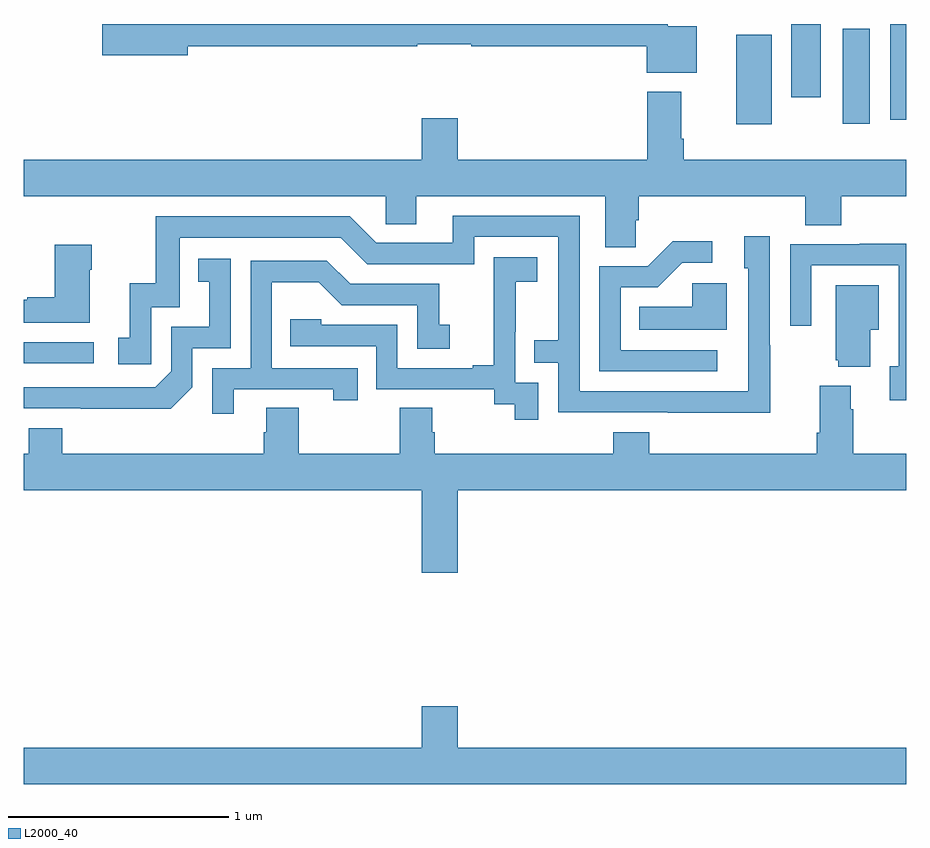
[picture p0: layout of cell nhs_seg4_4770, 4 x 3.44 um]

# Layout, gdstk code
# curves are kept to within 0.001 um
import gdstk
lib = gdstk.Library(unit=1e-6, precision=1e-09)
def R(c, l, rs):  # rectangles x0, y0, x1, y1
    for r in rs: c.add(gdstk.rectangle(r[:2], r[2:], *l))
def P(c, l, *ps):  # polygons
    for p in ps: c.add(gdstk.Polygon(p, *l))
L2000_40 = (2000, 40)

nhs_seg4_4770 = lib.new_cell('nhs_seg4_4770')
R(nhs_seg4_4770, L2000_40, [(367,829.362,367.318,829.458), (370.229,830.445,370.39,830.851), (370.712,830.448,370.834,830.878), (370.926,830.466,371,830.9), (370.478,830.568,370.612,830.9)])
P(nhs_seg4_4770, L2000_40, [(370.051,830.89),(369.918,830.89),(369.918,830.9),(367.356,830.9),(367.356,830.758),(367.744,830.758),(367.744,830.8),(368.784,830.8),(368.784,830.808),(369.028,830.808),(369.028,830.8),(369.824,830.8),(369.824,830.678),(370.051,830.678)],
  [(369.774,830.011),(369.788,830.011),(369.788,830.12),(370.541,830.12),(370.541,829.987),(370.706,829.987),(370.706,830.12),(371,830.12),(371,830.284),(369.992,830.284),(369.992,830.38),(369.979,830.38),(369.979,830.593),(369.827,830.593),(369.827,830.284),(368.968,830.284),(368.968,830.473),(368.804,830.473),(368.804,830.284),(367,830.284),(367,830.12),(368.64,830.12),(368.64,829.993),(368.779,829.993),(368.779,830.12),(369.635,830.12),(369.635,829.888),(369.774,829.888)],
  [(370.383,829.445),(370.38,829.445),(370.38,829.939),(370.265,829.939),(370.265,829.794),(370.284,829.794),(370.283,829.236),(369.519,829.236),(369.519,830.031),(368.945,830.031),(368.945,829.908),(368.598,829.908),(368.478,830.028),(367.599,830.028),(367.599,829.726),(367.481,829.726),(367.481,829.479),(367.428,829.479),(367.428,829.359),(367.578,829.359),(367.578,829.617),(367.707,829.617),(367.707,829.932),(368.436,829.932),(368.556,829.812),(369.042,829.812),(369.042,829.935),(369.423,829.935),(369.423,829.466),(369.313,829.466),(369.313,829.365),(369.423,829.365),(369.423,829.14),(370.383,829.139)],
  [(370.144,829.422),(369.705,829.422),(369.705,829.707),(369.874,829.707),(369.985,829.818),(370.12,829.818),(370.12,829.916),(369.941,829.916),(369.828,829.803),(369.609,829.803),(369.609,829.326),(370.144,829.326)],
  [(371,829.904),(370.789,829.904),(370.789,829.902),(370.473,829.902),(370.473,829.533),(370.569,829.533),(370.569,829.806),(370.965,829.806),(370.965,829.35),(370.925,829.35),(370.925,829.194),(371,829.194)],
  [(367.3,829.787),(367.308,829.787),(367.308,829.9),(367.142,829.9),(367.142,829.661),(367.016,829.661),(367.016,829.651),(367,829.651),(367,829.547),(367.3,829.547)],
  [(369.333,829.275),(369.228,829.275),(369.228,829.505),(369.23,829.505),(369.23,829.733),(369.328,829.733),(369.328,829.843),(369.13,829.843),(369.13,829.637),(369.131,829.637),(369.131,829.354),(369.035,829.354),(369.035,829.341),(368.694,829.341),(368.694,829.536),(368.349,829.536),(368.349,829.563),(368.209,829.563),(368.209,829.44),(368.598,829.44),(368.598,829.245),(369.132,829.245),(369.132,829.177),(369.225,829.177),(369.225,829.107),(369.333,829.107)],
  [(367.764,829.254),(367.764,829.431),(367.938,829.431),(367.938,829.837),(367.792,829.837),(367.792,829.731),(367.841,829.731),(367.841,829.527),(367.668,829.527),(367.668,829.326),(367.596,829.254),(367,829.254),(367,829.158),(367.666,829.157)],
  [(367.951,829.245),(368.402,829.245),(368.402,829.194),(368.513,829.194),(368.513,829.341),(368.124,829.341),(368.124,829.73),(368.338,829.73),(368.442,829.626),(368.784,829.626),(368.784,829.428),(368.932,829.428),(368.932,829.537),(368.883,829.537),(368.883,829.722),(368.479,829.722),(368.374,829.827),(368.028,829.827),(368.028,829.341),(367.854,829.341),(367.854,829.134),(367.951,829.134)],
  [(370.186,829.726),(370.029,829.726),(370.029,829.618),(369.79,829.618),(369.79,829.514),(370.186,829.514)],
  [(370.837,829.514),(370.876,829.514),(370.876,829.717),(370.679,829.717),(370.679,829.377),(370.691,829.377),(370.691,829.346),(370.837,829.346)],
  [(368.099,829.16),(368.099,829.05),(368.087,829.05),(368.087,828.952),(367.175,828.952),(367.175,829.069),(367.022,829.069),(367.022,828.952),(367,828.952),(367,828.788),(368.804,828.788),(368.804,828.414),(368.968,828.414),(368.968,828.788),(371,828.788),(371,828.952),(370.76,828.952),(370.76,829.154),(370.747,829.154),(370.747,829.261),(370.607,829.261),(370.607,829.048),(370.595,829.048),(370.595,828.952),(369.836,828.952),(369.836,829.051),(369.671,829.051),(369.671,828.952),(368.864,828.952),(368.864,829.05),(368.851,829.05),(368.851,829.16),(368.704,829.16),(368.704,828.952),(368.247,828.952),(368.247,829.16)],
  [(371,827.62),(368.968,827.62),(368.968,827.809),(368.804,827.809),(368.804,827.62),(367,827.62),(367,827.456),(371,827.456)])

lib.write_gds('nhs_seg4_4770.gds')
